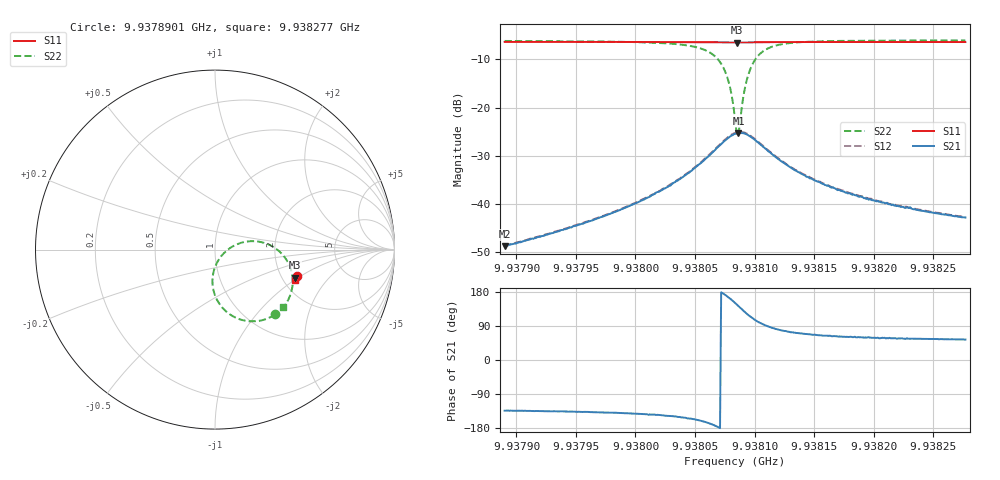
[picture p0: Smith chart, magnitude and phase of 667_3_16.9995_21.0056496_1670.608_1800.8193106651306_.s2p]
#  HZ  S  RI  R  50.00
! Rohde & Schwarz Vector Network Analyzer
! Rohde-Schwarz,ZNB20-2Port,1311601062101988,3.16
! Created: UTC 3/20/2024, 11:22:01 PM
! freq[Hz]  re:S11  im:S11  re:S21  im:S21  re:S12  im:S12  re:S22  im:S22
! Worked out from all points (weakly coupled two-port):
!   401 points, 9.9378901 GHz to 9.938277 GHz, reference 50 ohm
!   highest |S21| = -25.23 dB at 9.9380865 GHz (marker M1); lowest = -48.7 dB at 9.9378901 GHz (marker M2)
!   lowest |S11| = -6.5 dB at 9.9380855 GHz (marker M3), VSWR 2.80, Z = 117 - j47.4 ohm
!   |S11| at or under -10 dB: nowhere
!   |S22| runs from -25.9 to -6.1 dB; largest |S21 - S12| = 0.0018
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9.93789011e9  0.4581 -0.1468  -0.00253 -0.00264  -0.00258 -0.00263  0.3344 -0.3614
9.93795492e9  0.4562 -0.1514  -0.00457 -0.00426  -0.00466 -0.00423  0.3129 -0.3746
9.93799264e9  0.4549 -0.1541  -0.00716 -0.00591  -0.00736 -0.00589  0.2876 -0.3856
9.93801973e9  0.4538 -0.1562  -0.011 -0.00766  -0.0114 -0.00753  0.2526 -0.3959
9.93805165e9  0.4517 -0.1587  -0.0229 -0.00927  -0.0233 -0.00911  0.154 -0.3931
9.93806809e9  0.4494 -0.1593  -0.0377 -0.00327  -0.0383 -0.00295  0.0429 -0.3259
9.9380739e9  0.4483 -0.159  -0.0438 0.00399  -0.0448 0.00466  0.00123 -0.2587
9.93807777e9  0.4476 -0.1583  -0.047 0.0115  -0.048 0.0125  -0.0137 -0.1935
9.93808067e9  0.4474 -0.1578  -0.0477 0.0184  -0.0486 0.0197  -0.0106 -0.1357
9.93808357e9  0.4472 -0.1571  -0.0467 0.0261  -0.0473 0.0274  0.0094 -0.0762
9.93808551e9  0.4471 -0.1566  -0.0448 0.0311  -0.0453 0.0327  0.0332 -0.0386
9.93808647e9  0.4473 -0.1563  -0.0433 0.0335  -0.0437 0.035  0.0475 -0.0218
9.93808744e9  0.4473 -0.1562  -0.0415 0.0356  -0.0419 0.0373  0.0646 -0.0062
9.93809131e9  0.4481 -0.1553  -0.0333 0.0425  -0.0334 0.044  0.1418 0.037
9.93809421e9  0.4488 -0.155  -0.026 0.0451  -0.0257 0.0466  0.2037 0.0471
9.93809808e9  0.4497 -0.155  -0.0172 0.0453  -0.0166 0.0468  0.2771 0.0366
9.93810292e9  0.4507 -0.1555  -0.00804 0.043  -0.00736 0.0439  0.3448 0.00123
9.93811839e9  0.452 -0.1577  0.00444 0.0298  0.00533 0.0303  0.4261 -0.1214
9.93814838e9  0.452 -0.1609  0.00717 0.0167  0.0076 0.0168  0.4259 -0.2328
9.93817643e9  0.4513 -0.1634  0.00637 0.0115  0.00667 0.0118  0.4111 -0.2734
9.93821319e9  0.4502 -0.1661  0.00519 0.0085  0.00546 0.0084  0.3965 -0.2992
9.93827704e9  0.4483 -0.1705  0.00426 0.00586  0.00442 0.00587  0.3808 -0.3209
